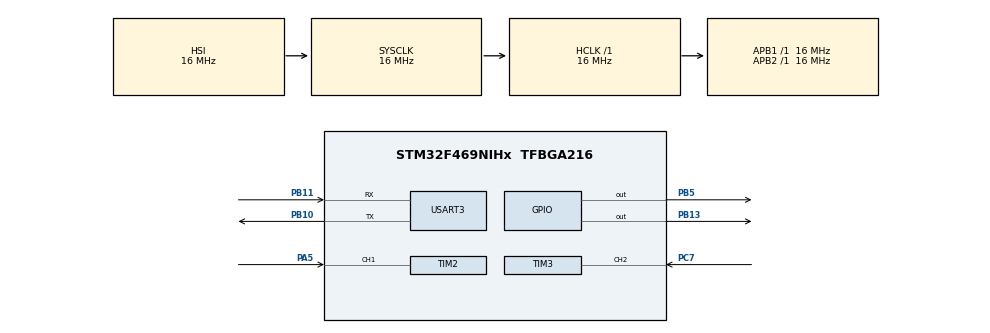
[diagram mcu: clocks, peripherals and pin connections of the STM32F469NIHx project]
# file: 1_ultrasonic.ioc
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Mcu.Family=STM32F4
Mcu.Name=STM32F469NIHx
Mcu.Package=TFBGA216
NVIC.PriorityGroup=NVIC_PRIORITYGROUP_4
NVIC.TIM1_UP_TIM10_IRQn=true\:0\:0\:false\:false\:true\:true
NVIC.TIM2_IRQn=true\:1\:0\:true\:false\:true\:true
NVIC.TIM3_IRQn=true\:1\:0\:true\:false\:true\:true
NVIC.USART3_IRQn=true\:0\:0\:false\:false\:true\:true
PA5.Signal=S_TIM2_CH1_ETR
PB10.Mode=Asynchronous
PB10.Signal=USART3_TX
PB11.Mode=Asynchronous
PB11.Signal=USART3_RX
PB13.Signal=GPIO_Output
PB5.Signal=GPIO_Output
PB8.Signal=S_TIM4_CH3
PC7.Signal=S_TIM3_CH2
PH0/OSC_IN.Mode=HSE-External-Oscillator
PH0/OSC_IN.Signal=RCC_OSC_IN
PH1/OSC_OUT.Mode=HSE-External-Oscillator
PH1/OSC_OUT.Signal=RCC_OSC_OUT
ProjectManager.HeapSize=0x200
ProjectManager.StackSize=0x400
ProjectManager.TargetToolchain=TrueSTUDIO
RCC.AHBFreq_Value=16000000
RCC.APB1Freq_Value=16000000
RCC.APB1TimFreq_Value=16000000
RCC.APB2Freq_Value=16000000
RCC.APB2TimFreq_Value=16000000
RCC.CortexFreq_Value=16000000
RCC.HCLKFreq_Value=16000000
RCC.HSE_VALUE=16000000
RCC.PLLSourceVirtual=RCC_PLLSOURCE_HSE
RCC.SYSCLKFreq_VALUE=16000000
RCC.USBFreq_Value=48000000
RCC.VCOOutputFreq_Value=192000000
SH.S_TIM2_CH1_ETR.0=TIM2_CH1,Input_Capture1_from_TI1
SH.S_TIM3_CH2.0=TIM3_CH2,Input_Capture2_from_TI2
SH.S_TIM4_CH3.0=TIM4_CH3
TIM1.Period=10
TIM1.Prescaler=15
TIM2.Channel-Input_Capture1_from_TI1=TIM_CHANNEL_1
TIM2.ICPolarity_CH1=TIM_INPUTCHANNELPOLARITY_BOTHEDGE
TIM2.Period=0xffff
TIM2.Prescaler=15
TIM3.Channel-Input_Capture2_from_TI2=TIM_CHANNEL_2
TIM3.ICPolarity_CH2=TIM_INPUTCHANNELPOLARITY_BOTHEDGE
TIM3.Period=0xffff
TIM3.Prescaler=15
USART3.VirtualMode=VM_ASYNC
VP_TIM1_VS_ClockSourceINT.Mode=Internal
VP_TIM3_VS_ClockSourceINT.Mode=Internal
board=1_ultrasonic

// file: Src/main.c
/**
  ******************************************************************************
  * @file           : main.c
  * @brief          : Main program body
  ******************************************************************************
  ** This notice applies to any and all portions of this file
  * that are not between comment pairs USER CODE BEGIN and
  * USER CODE END. Other portions of this file, whether
  * inserted by the user or by software development tools
  * are owned by their respective copyright owners.
  *
  * COPYRIGHT(c) 2018 STMicroelectronics
  *
  * Redistribution and use in source and binary forms, with or without modification,
  * are permitted provided that the following conditions are met:
  *   1. Redistributions of source code must retain the above copyright notice,
  *      this list of conditions and the following disclaimer.
  *   2. Redistributions in binary form must reproduce the above copyright notice,
  *      this list of conditions and the following disclaimer in the documentation
  *      and/or other materials provided with the distribution.
  *   3. Neither the name of STMicroelectronics nor the names of its contributors
  *      may be used to endorse or promote products derived from this software
  *      without specific prior written permission.
  *
  * THIS SOFTWARE IS PROVIDED BY THE COPYRIGHT HOLDERS AND CONTRIBUTORS "AS IS"
  * AND ANY EXPRESS OR IMPLIED WARRANTIES, INCLUDING, BUT NOT LIMITED TO, THE
  * IMPLIED WARRANTIES OF MERCHANTABILITY AND FITNESS FOR A PARTICULAR PURPOSE ARE
  * DISCLAIMED. IN NO EVENT SHALL THE COPYRIGHT HOLDER OR CONTRIBUTORS BE LIABLE
  * FOR ANY DIRECT, INDIRECT, INCIDENTAL, SPECIAL, EXEMPLARY, OR CONSEQUENTIAL
  * DAMAGES (INCLUDING, BUT NOT LIMITED TO, PROCUREMENT OF SUBSTITUTE GOODS OR
  * SERVICES; LOSS OF USE, DATA, OR PROFITS; OR BUSINESS INTERRUPTION) HOWEVER
  * CAUSED AND ON ANY THEORY OF LIABILITY, WHETHER IN CONTRACT, STRICT LIABILITY,
  * OR TORT (INCLUDING NEGLIGENCE OR OTHERWISE) ARISING IN ANY WAY OUT OF THE USE
  * OF THIS SOFTWARE, EVEN IF ADVISED OF THE POSSIBILITY OF SUCH DAMAGE.
  *
  ******************************************************************************
  */
#include "main.h"
#include "stm32f4xx_hal.h"

TIM_HandleTypeDef htim1;
TIM_HandleTypeDef htim2;
TIM_HandleTypeDef htim3;

UART_HandleTypeDef huart3;

/* USER CODE BEGIN PV */
/* Private variables ---------------------------------------------------------*/

/* USER CODE END PV */

void SystemClock_Config(void);
static void MX_GPIO_Init(void);
static void MX_USART3_UART_Init(void);
static void MX_TIM3_Init(void);
static void MX_TIM2_Init(void);
static void MX_TIM1_Init(void);

/* USER CODE BEGIN PFP */
/* Private function prototypes -----------------------------------------------*/

/* USER CODE END PFP */

/* USER CODE BEGIN 0 */
int inta,intb,floata,floatb;
void HAL_TIM_IC_CaptureCallback(TIM_HandleTypeDef* htim){
	if(htim->Instance==TIM2){
		if(HAL_GPIO_ReadPin(GPIOA,GPIO_PIN_5)==1){
			__HAL_TIM_SET_COUNTER(&htim2,0);
		}else{
			int cnt=__HAL_TIM_GET_COUNTER(&htim2);
			double distance=cnt/(double)58;
			inta=(int)distance;
			floata=(int)((distance-inta)*100);
			HAL_TIM_Base_Start_IT(&htim1);
		}
	}
	if(htim->Instance==TIM3){
		if(HAL_GPIO_ReadPin(GPIOC,GPIO_PIN_7)==1){
			__HAL_TIM_SET_COUNTER(&htim3,0);
		}else{
			int cnt=__HAL_TIM_GET_COUNTER(&htim3);
			double distance=cnt/(double)58;
			intb=(int)distance;
			floatb=(int)((distance-intb)*100);
			char tosend[40]={0};
			sprintf(tosend,"%d.%02d , %d.%02d\r\n",inta,floata,intb,floatb);
			HAL_UART_Transmit(&huart3,tosend,sizeof(tosend),0xffff);
			HAL_TIM_Base_Start_IT(&htim1);
		}
	}

}
int tim1Count=7000;
int ultrasonic=0;
void HAL_TIM_PeriodElapsedCallback(TIM_HandleTypeDef *htim){
	if(htim->Instance==TIM1){
		if(tim1Count<7000){
			tim1Count++;
		}else{
			if(ultrasonic==0){
				HAL_TIM_Base_Stop_IT(&htim1);
				if(HAL_GPIO_ReadPin(GPIOB,GPIO_PIN_5)==0){
					HAL_GPIO_WritePin(GPIOB,GPIO_PIN_5,1);
					HAL_TIM_Base_Start_IT(&htim1);
				}else{
					tim1Count=0;
					ultrasonic=1;
					HAL_GPIO_WritePin(GPIOB,GPIO_PIN_5,0);
				}
			}else{
				HAL_TIM_Base_Stop_IT(&htim1);
				if(HAL_GPIO_ReadPin(GPIOB,GPIO_PIN_13)==0){
					HAL_GPIO_WritePin(GPIOB,GPIO_PIN_13,1);
					HAL_TIM_Base_Start_IT(&htim1);
				}else{
					tim1Count=0;
					ultrasonic=0;
					HAL_GPIO_WritePin(GPIOB,GPIO_PIN_13,0);
				}
			}
		}
	}
}
/* USER CODE END 0 */

int main(void)
{

  /* MCU Configuration----------------------------------------------------------*/

  /* Reset of all peripherals, Initializes the Flash interface and the Systick. */
  HAL_Init();

  /* Configure the system clock */
  SystemClock_Config();

  /* Initialize all configured peripherals */
  MX_GPIO_Init();
  MX_USART3_UART_Init();
  MX_TIM3_Init();
  MX_TIM2_Init();
  MX_TIM1_Init();
  /* USER CODE BEGIN 2 */
  HAL_TIM_IC_Start_IT(&htim2,TIM_CHANNEL_1);
  HAL_UART_Transmit(&huart3,"Aok\r\n",5,0xffff);
  HAL_TIM_IC_Start_IT(&htim3,TIM_CHANNEL_2);
  HAL_UART_Transmit(&huart3,"Bok\r\n",5,0xffff);
  HAL_TIM_Base_Start_IT(&htim1);
  /* USER CODE END 2 */

  /* Infinite loop */
  while (1)
  {

  }

}

void SystemClock_Config(void)
{

  RCC_OscInitTypeDef RCC_OscInitStruct;
  RCC_ClkInitTypeDef RCC_ClkInitStruct;

    /**Configure the main internal regulator output voltage
    */
  __HAL_RCC_PWR_CLK_ENABLE();

  __HAL_PWR_VOLTAGESCALING_CONFIG(PWR_REGULATOR_VOLTAGE_SCALE3);

    /**Initializes the CPU, AHB and APB busses clocks
    */
  RCC_OscInitStruct.OscillatorType = RCC_OSCILLATORTYPE_HSI;
  RCC_OscInitStruct.HSIState = RCC_HSI_ON;
  RCC_OscInitStruct.HSICalibrationValue = 16;
  RCC_OscInitStruct.PLL.PLLState = RCC_PLL_NONE;
  if (HAL_RCC_OscConfig(&RCC_OscInitStruct) != HAL_OK)
  {
    _Error_Handler(__FILE__, __LINE__);
  }

    /**Initializes the CPU, AHB and APB busses clocks
    */
  RCC_ClkInitStruct.ClockType = RCC_CLOCKTYPE_HCLK|RCC_CLOCKTYPE_SYSCLK
                              |RCC_CLOCKTYPE_PCLK1|RCC_CLOCKTYPE_PCLK2;
  RCC_ClkInitStruct.SYSCLKSource = RCC_SYSCLKSOURCE_HSI;
  RCC_ClkInitStruct.AHBCLKDivider = RCC_SYSCLK_DIV1;
  RCC_ClkInitStruct.APB1CLKDivider = RCC_HCLK_DIV1;
  RCC_ClkInitStruct.APB2CLKDivider = RCC_HCLK_DIV1;

  if (HAL_RCC_ClockConfig(&RCC_ClkInitStruct, FLASH_LATENCY_0) != HAL_OK)
  {
    _Error_Handler(__FILE__, __LINE__);
  }

    /**Configure the Systick interrupt time
    */
  HAL_SYSTICK_Config(HAL_RCC_GetHCLKFreq()/1000);

    /**Configure the Systick
    */
  HAL_SYSTICK_CLKSourceConfig(SYSTICK_CLKSOURCE_HCLK);

  /* SysTick_IRQn interrupt configuration */
  HAL_NVIC_SetPriority(SysTick_IRQn, 0, 0);
}

/* TIM1 init function */
static void MX_TIM1_Init(void)
{

  TIM_ClockConfigTypeDef sClockSourceConfig;
  TIM_MasterConfigTypeDef sMasterConfig;

  htim1.Instance = TIM1;
  htim1.Init.Prescaler = 15;
  htim1.Init.CounterMode = TIM_COUNTERMODE_UP;
  htim1.Init.Period = 10;
  htim1.Init.ClockDivision = TIM_CLOCKDIVISION_DIV1;
  htim1.Init.RepetitionCounter = 0;
  if (HAL_TIM_Base_Init(&htim1) != HAL_OK)
  {
    _Error_Handler(__FILE__, __LINE__);
  }

  sClockSourceConfig.ClockSource = TIM_CLOCKSOURCE_INTERNAL;
  if (HAL_TIM_ConfigClockSource(&htim1, &sClockSourceConfig) != HAL_OK)
  {
    _Error_Handler(__FILE__, __LINE__);
  }

  sMasterConfig.MasterOutputTrigger = TIM_TRGO_RESET;
  sMasterConfig.MasterSlaveMode = TIM_MASTERSLAVEMODE_DISABLE;
  if (HAL_TIMEx_MasterConfigSynchronization(&htim1, &sMasterConfig) != HAL_OK)
  {
    _Error_Handler(__FILE__, __LINE__);
  }

}

/* TIM2 init function */
static void MX_TIM2_Init(void)
{

  TIM_MasterConfigTypeDef sMasterConfig;
  TIM_IC_InitTypeDef sConfigIC;

  htim2.Instance = TIM2;
  htim2.Init.Prescaler = 15;
  htim2.Init.CounterMode = TIM_COUNTERMODE_UP;
  htim2.Init.Period = 0xffff;
  htim2.Init.ClockDivision = TIM_CLOCKDIVISION_DIV1;
  if (HAL_TIM_IC_Init(&htim2) != HAL_OK)
  {
    _Error_Handler(__FILE__, __LINE__);
  }

  sMasterConfig.MasterOutputTrigger = TIM_TRGO_RESET;
  sMasterConfig.MasterSlaveMode = TIM_MASTERSLAVEMODE_DISABLE;
  if (HAL_TIMEx_MasterConfigSynchronization(&htim2, &sMasterConfig) != HAL_OK)
  {
    _Error_Handler(__FILE__, __LINE__);
  }

  sConfigIC.ICPolarity = TIM_INPUTCHANNELPOLARITY_BOTHEDGE;
  sConfigIC.ICSelection = TIM_ICSELECTION_DIRECTTI;
  sConfigIC.ICPrescaler = TIM_ICPSC_DIV1;
  sConfigIC.ICFilter = 0;
  if (HAL_TIM_IC_ConfigChannel(&htim2, &sConfigIC, TIM_CHANNEL_1) != HAL_OK)
  {
    _Error_Handler(__FILE__, __LINE__);
  }

}

/* TIM3 init function */
static void MX_TIM3_Init(void)
{

  TIM_ClockConfigTypeDef sClockSourceConfig;
  TIM_MasterConfigTypeDef sMasterConfig;
  TIM_IC_InitTypeDef sConfigIC;

  htim3.Instance = TIM3;
  htim3.Init.Prescaler = 15;
  htim3.Init.CounterMode = TIM_COUNTERMODE_UP;
  htim3.Init.Period = 0xffff;
  htim3.Init.ClockDivision = TIM_CLOCKDIVISION_DIV1;
  if (HAL_TIM_Base_Init(&htim3) != HAL_OK)
  {
    _Error_Handler(__FILE__, __LINE__);
  }

  sClockSourceConfig.ClockSource = TIM_CLOCKSOURCE_INTERNAL;
  if (HAL_TIM_ConfigClockSource(&htim3, &sClockSourceConfig) != HAL_OK)
  {
    _Error_Handler(__FILE__, __LINE__);
  }

  if (HAL_TIM_IC_Init(&htim3) != HAL_OK)
  {
    _Error_Handler(__FILE__, __LINE__);
  }

  sMasterConfig.MasterOutputTrigger = TIM_TRGO_RESET;
  sMasterConfig.MasterSlaveMode = TIM_MASTERSLAVEMODE_DISABLE;
  if (HAL_TIMEx_MasterConfigSynchronization(&htim3, &sMasterConfig) != HAL_OK)
  {
    _Error_Handler(__FILE__, __LINE__);
  }

  sConfigIC.ICPolarity = TIM_INPUTCHANNELPOLARITY_BOTHEDGE;
  sConfigIC.ICSelection = TIM_ICSELECTION_DIRECTTI;
  sConfigIC.ICPrescaler = TIM_ICPSC_DIV1;
  sConfigIC.ICFilter = 0;
  if (HAL_TIM_IC_ConfigChannel(&htim3, &sConfigIC, TIM_CHANNEL_2) != HAL_OK)
  {
    _Error_Handler(__FILE__, __LINE__);
  }

}

/* USART3 init function */
static void MX_USART3_UART_Init(void)
{

  huart3.Instance = USART3;
  huart3.Init.BaudRate = 115200;
  huart3.Init.WordLength = UART_WORDLENGTH_8B;
  huart3.Init.StopBits = UART_STOPBITS_1;
  huart3.Init.Parity = UART_PARITY_NONE;
  huart3.Init.Mode = UART_MODE_TX_RX;
  huart3.Init.HwFlowCtl = UART_HWCONTROL_NONE;
  huart3.Init.OverSampling = UART_OVERSAMPLING_16;
  if (HAL_UART_Init(&huart3) != HAL_OK)
  {
    _Error_Handler(__FILE__, __LINE__);
  }

}

/** Configure pins
     PB8   ------> S_TIM4_CH3
*/
static void MX_GPIO_Init(void)
{

  GPIO_InitTypeDef GPIO_InitStruct;

  /* GPIO Ports Clock Enable */
  __HAL_RCC_GPIOB_CLK_ENABLE();
  __HAL_RCC_GPIOH_CLK_ENABLE();
  __HAL_RCC_GPIOC_CLK_ENABLE();
  __HAL_RCC_GPIOA_CLK_ENABLE();

  /*Configure GPIO pin Output Level */
  HAL_GPIO_WritePin(GPIOB, GPIO_PIN_5|GPIO_PIN_13, GPIO_PIN_RESET);

  /*Configure GPIO pin : PB8 */
  GPIO_InitStruct.Pin = GPIO_PIN_8;
  GPIO_InitStruct.Mode = GPIO_MODE_AF_PP;
  GPIO_InitStruct.Pull = GPIO_NOPULL;
  GPIO_InitStruct.Speed = GPIO_SPEED_FREQ_LOW;
  GPIO_InitStruct.Alternate = GPIO_AF2_TIM4;
  HAL_GPIO_Init(GPIOB, &GPIO_InitStruct);

  /*Configure GPIO pins : PB5 PB13 */
  GPIO_InitStruct.Pin = GPIO_PIN_5|GPIO_PIN_13;
  GPIO_InitStruct.Mode = GPIO_MODE_OUTPUT_PP;
  GPIO_InitStruct.Pull = GPIO_NOPULL;
  GPIO_InitStruct.Speed = GPIO_SPEED_FREQ_LOW;
  HAL_GPIO_Init(GPIOB, &GPIO_InitStruct);

}

void _Error_Handler(char *file, int line)
{
  while(1)
  {
  }
}

/************************ (C) COPYRIGHT STMicroelectronics *****END OF FILE****/
